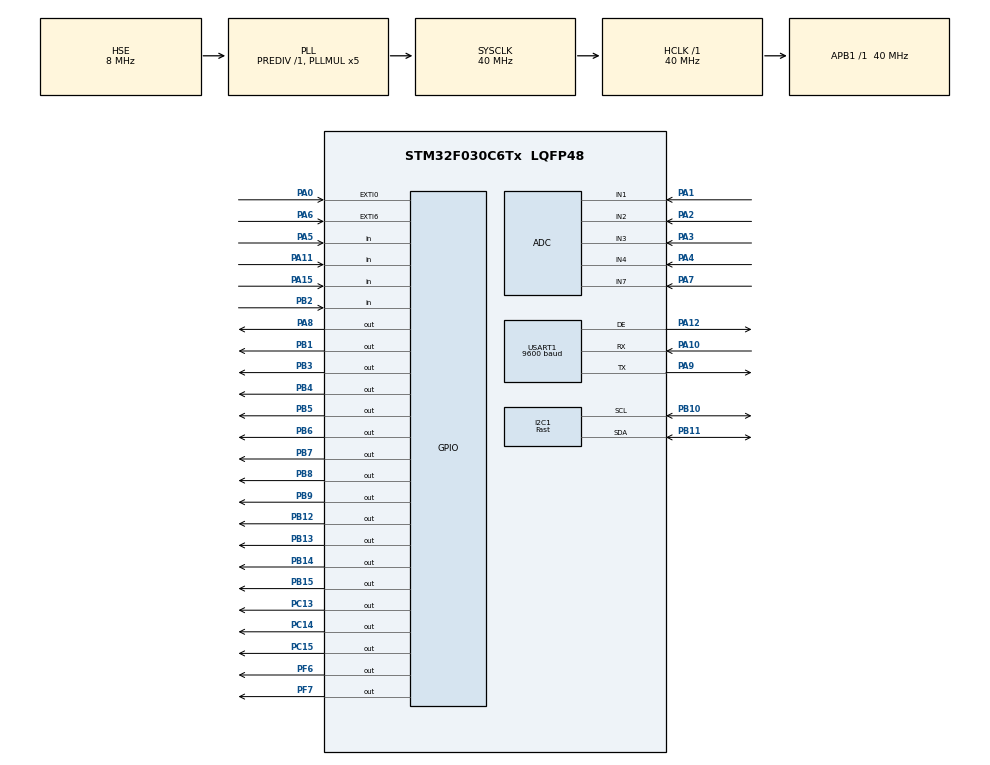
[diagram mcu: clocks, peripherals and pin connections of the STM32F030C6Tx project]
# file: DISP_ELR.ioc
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ADC.ClockPrescaler=ADC_CLOCK_SYNC_PCLK_DIV4
ADC.DMAContinuousRequests=ENABLE
ADC.EOCSelection=ADC_EOC_SEQ_CONV
ADC.ExternalTrigConv=ADC_EXTERNALTRIGCONV_T1_TRGO
ADC.SamplingTime=ADC_SAMPLETIME_13CYCLES_5
Dma.ADC.0.Direction=DMA_PERIPH_TO_MEMORY
Dma.ADC.0.Instance=DMA1_Channel1
Dma.ADC.0.MemDataAlignment=DMA_MDATAALIGN_WORD
Dma.ADC.0.MemInc=DMA_MINC_ENABLE
Dma.ADC.0.Mode=DMA_CIRCULAR
Dma.ADC.0.PeriphDataAlignment=DMA_PDATAALIGN_WORD
Dma.ADC.0.PeriphInc=DMA_PINC_DISABLE
Dma.ADC.0.Priority=DMA_PRIORITY_HIGH
Dma.I2C1_RX.1.Direction=DMA_PERIPH_TO_MEMORY
Dma.I2C1_RX.1.Instance=DMA1_Channel3
Dma.I2C1_RX.1.MemDataAlignment=DMA_MDATAALIGN_BYTE
Dma.I2C1_RX.1.MemInc=DMA_MINC_ENABLE
Dma.I2C1_RX.1.Mode=DMA_NORMAL
Dma.I2C1_RX.1.PeriphDataAlignment=DMA_PDATAALIGN_BYTE
Dma.I2C1_RX.1.PeriphInc=DMA_PINC_DISABLE
Dma.I2C1_RX.1.Priority=DMA_PRIORITY_LOW
Dma.Request0=ADC
Dma.Request1=I2C1_RX
Dma.Request2=USART1_RX
Dma.USART1_RX.2.Direction=DMA_PERIPH_TO_MEMORY
Dma.USART1_RX.2.Instance=DMA1_Channel5
Dma.USART1_RX.2.MemDataAlignment=DMA_MDATAALIGN_BYTE
Dma.USART1_RX.2.MemInc=DMA_MINC_ENABLE
Dma.USART1_RX.2.Mode=DMA_NORMAL
Dma.USART1_RX.2.PeriphDataAlignment=DMA_PDATAALIGN_BYTE
Dma.USART1_RX.2.PeriphInc=DMA_PINC_DISABLE
Dma.USART1_RX.2.Priority=DMA_PRIORITY_LOW
I2C1.I2C_Speed_Mode=I2C_Fast
I2C1.Timing=0x0000020B
IWDG.Prescaler=IWDG_PRESCALER_32
Mcu.Family=STM32F0
Mcu.Name=STM32F030C6Tx
Mcu.Package=LQFP48
NVIC.ADC1_IRQn=true\:0\:0\:false\:false\:true\:true\:true
NVIC.DMA1_Channel1_IRQn=true\:0\:0\:false\:false\:true\:false\:true
NVIC.DMA1_Channel2_3_IRQn=true\:0\:0\:false\:false\:true\:false\:true
NVIC.DMA1_Channel4_5_IRQn=true\:0\:0\:false\:false\:true\:false\:true
NVIC.EXTI0_1_IRQn=true\:0\:0\:false\:false\:true\:true\:true
NVIC.EXTI4_15_IRQn=true\:0\:0\:false\:false\:true\:true\:true
NVIC.I2C1_IRQn=true\:0\:0\:false\:false\:true\:true\:true
NVIC.TIM1_BRK_UP_TRG_COM_IRQn=true\:0\:0\:false\:false\:true\:true\:true
NVIC.USART1_IRQn=true\:0\:0\:false\:false\:true\:true\:true
PA0.Signal=GPXTI0
PA1.Mode=IN1
PA1.Signal=ADC_IN1
PA10.Mode=Asynchronous
PA10.Signal=USART1_RX
PA11.GPIO_PuPd=GPIO_PULLUP
PA11.Signal=GPIO_Input
PA12.Mode=Hardware Flow Control (RS485)
PA12.Signal=USART1_DE
PA13.Mode=Serial_Wire
PA13.Signal=SYS_SWDIO
PA14.Mode=Serial_Wire
PA14.Signal=SYS_SWCLK
PA15.GPIO_PuPd=GPIO_PULLUP
PA15.Signal=GPIO_Input
PA2.Mode=IN2
PA2.Signal=ADC_IN2
PA3.Mode=IN3
PA3.Signal=ADC_IN3
PA4.Mode=IN4
PA4.Signal=ADC_IN4
PA5.GPIO_PuPd=GPIO_PULLUP
PA5.Signal=GPIO_Input
PA6.GPIO_ModeDefaultEXTI=GPIO_MODE_IT_FALLING
PA6.Signal=GPXTI6
PA7.Mode=IN7
PA7.Signal=ADC_IN7
PA8.Signal=GPIO_Output
PA9.Mode=Asynchronous
PA9.Signal=USART1_TX
PB1.Signal=GPIO_Output
PB10.Mode=I2C
PB10.Signal=I2C1_SCL
PB11.Mode=I2C
PB11.Signal=I2C1_SDA
PB12.Signal=GPIO_Output
PB13.Signal=GPIO_Output
PB14.Signal=GPIO_Output
PB15.Signal=GPIO_Output
PB2.GPIO_PuPd=GPIO_PULLUP
PB2.Signal=GPIO_Input
PB3.Signal=GPIO_Output
PB4.Signal=GPIO_Output
PB5.Signal=GPIO_Output
PB6.Signal=GPIO_Output
PB7.Signal=GPIO_Output
PB8.Signal=GPIO_Output
PB9.Signal=GPIO_Output
PC13.Signal=GPIO_Output
PC14-OSC32_IN.Signal=GPIO_Output
PC15-OSC32_OUT.Signal=GPIO_Output
PF0-OSC_IN.Mode=HSE-External-Oscillator
PF0-OSC_IN.Signal=RCC_OSC_IN
PF1-OSC_OUT.Mode=HSE-External-Oscillator
PF1-OSC_OUT.Signal=RCC_OSC_OUT
PF6.Signal=GPIO_Output
PF7.Signal=GPIO_Output
ProjectManager.HeapSize=0x200
ProjectManager.StackSize=0x400
ProjectManager.TargetToolchain=MDK-ARM V5
RCC.AHBFreq_Value=40000000
RCC.APB1Freq_Value=40000000
RCC.APB1TimFreq_Value=40000000
RCC.HCLKFreq_Value=40000000
RCC.PLLMUL=RCC_PLL_MUL5
RCC.PLLSourceVirtual=RCC_PLLSOURCE_HSE
RCC.SYSCLKFreq_VALUE=40000000
RCC.SYSCLKSource=RCC_SYSCLKSOURCE_PLLCLK
TIM1.Period=5000-1
TIM1.TIM_MasterOutputTrigger=TIM_TRGO_UPDATE
USART1.BaudRate=9600
USART1.UART_DEAssertionTime=10
USART1.UART_DEDeassertionTime=10
USART1.VirtualMode-Asynchronous=VM_ASYNC
USART1.VirtualMode-Hardware\ Flow\ Control\ (RS485)=VM_ASYNC
VP_IWDG_VS_IWDG.Mode=IWDG_Activate
VP_TIM1_VS_ClockSourceINT.Mode=Internal
board=custom

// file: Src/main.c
/* USER CODE BEGIN Header */
/**
  ******************************************************************************
  * @file           : main.c
  * @brief          : Main program body
  ******************************************************************************
  ** This notice applies to any and all portions of this file
  * that are not between comment pairs USER CODE BEGIN and
  * USER CODE END. Other portions of this file, whether
  * inserted by the user or by software development tools
  * are owned by their respective copyright owners.
  *
  * COPYRIGHT(c) 2019 STMicroelectronics
  *
  * Redistribution and use in source and binary forms, with or without modification,
  * are permitted provided that the following conditions are met:
  *   1. Redistributions of source code must retain the above copyright notice,
  *      this list of conditions and the following disclaimer.
  *   2. Redistributions in binary form must reproduce the above copyright notice,
  *      this list of conditions and the following disclaimer in the documentation
  *      and/or other materials provided with the distribution.
  *   3. Neither the name of STMicroelectronics nor the names of its contributors
  *      may be used to endorse or promote products derived from this software
  *      without specific prior written permission.
  *
  * THIS SOFTWARE IS PROVIDED BY THE COPYRIGHT HOLDERS AND CONTRIBUTORS "AS IS"
  * AND ANY EXPRESS OR IMPLIED WARRANTIES, INCLUDING, BUT NOT LIMITED TO, THE
  * IMPLIED WARRANTIES OF MERCHANTABILITY AND FITNESS FOR A PARTICULAR PURPOSE ARE
  * DISCLAIMED. IN NO EVENT SHALL THE COPYRIGHT HOLDER OR CONTRIBUTORS BE LIABLE
  * FOR ANY DIRECT, INDIRECT, INCIDENTAL, SPECIAL, EXEMPLARY, OR CONSEQUENTIAL
  * DAMAGES (INCLUDING, BUT NOT LIMITED TO, PROCUREMENT OF SUBSTITUTE GOODS OR
  * SERVICES; LOSS OF USE, DATA, OR PROFITS; OR BUSINESS INTERRUPTION) HOWEVER
  * CAUSED AND ON ANY THEORY OF LIABILITY, WHETHER IN CONTRACT, STRICT LIABILITY,
  * OR TORT (INCLUDING NEGLIGENCE OR OTHERWISE) ARISING IN ANY WAY OUT OF THE USE
  * OF THIS SOFTWARE, EVEN IF ADVISED OF THE POSSIBILITY OF SUCH DAMAGE.
  *
  ******************************************************************************
  */
/* USER CODE END Header */

#include "main.h"

/* USER CODE BEGIN Includes */

/*******************************************************************************/

#include "Rms.h"
#include "stdbool.h"
#include "ui.h"
#include "setup.h"
#include "display.h"
#include "button.h"
#include "string.h"
#include "pt24xx.h"
#include "rtc.h"
#include "serialcomm.h"
#include "modbus.h"
#include "button_new.h"

/*******************************************************************************/

/* USER CODE END Includes */
#define S1_Is_Not_Pressed (GPIOB->IDR & GPIO_PIN_2)
/* USER CODE BEGIN PTD */

/*******************************************************************************/
uint16_t Adc_Timmer_Counter=0;
bool Adc_Flag=false,disp_flag=false,back_flag = false,button_flag = false;
static uint32_t I_Sample[TOTAL_ADC_CHANNEL];
bool Trip_Value_Status=false,toggle = false;
uint32_t Start_Timmer=0;
bool callibartion_flag=true;
bool start_calibartions_flag=false;
bool Write_history_trip=false;
uint16_t testing_blur = 0;
bool testing_flag = false;
bool falt_disp=false;
bool setup_digit = false;
extern uint8_t Relay_Voltage_Detection;
 // Adc  Adc_Rms;
  // Common_Var  Common;
  // Store_Data  Stored;
const uint32_t parity_bit[3]	= 		{UART_PARITY_NONE,UART_PARITY_EVEN,UART_PARITY_ODD};
const uint32_t word_length[3]	= {UART_WORDLENGTH_8B,UART_WORDLENGTH_9B,UART_WORDLENGTH_9B};

/*******************************************************************************/
/* USER CODE END PTD */

/* USER CODE BEGIN PD */

/*******************************************************************************/

#define  EEPROM_DEVICE_ADDRESS   (0xAE) /* EEPROM Device Address */
#define  RTC_DEVICE_ADDRESS      (0xA3)   /* RTC Device Address */
//#define SETTING   (GPIOA->IDR & GPIO_PIN_0)

/*******************************************************************************/
/* USER CODE END PD */

ADC_HandleTypeDef hadc;
DMA_HandleTypeDef hdma_adc;

I2C_HandleTypeDef hi2c1;
DMA_HandleTypeDef hdma_i2c1_rx;

IWDG_HandleTypeDef hiwdg;

TIM_HandleTypeDef htim1;

UART_HandleTypeDef huart1;
DMA_HandleTypeDef hdma_usart1_rx;

void SystemClock_Config(void);
static void MX_GPIO_Init(void);
static void MX_DMA_Init(void);
static void MX_ADC_Init(void);
static void MX_I2C1_Init(void);
static void MX_USART1_UART_Init(void);
static void MX_TIM1_Init(void);
static void MX_IWDG_Init(void);
/* USER CODE BEGIN PFP */
void Hardware_Init(void);

/* USER CODE END PFP */

/* USER CODE BEGIN 0 */
/*******************************************************************************/
uint8_t Slot=0;
uint8_t __temp_timmer;

uint16_t __temp_disp;

bool ui_periodic_flag=false,three_sec_flag = false;

uint8_t three_sec_counter = 0,half_sec_couter = 0,setup_digit_del=0;
/* Adc Call Back Function Call Every 125 us */
uint16_t __temp548=0;

void HAL_ADC_ConvCpltCallback(ADC_HandleTypeDef* hadc1)
{

  /* if Setting Current rms value  is greater than trip_set value  Starting the timmer*/
	if(Trip_Value_Status==true)
	{
		__temp_timmer++; /* __temp_timmer increease 125 us */

		if(__temp_timmer==8)
		  {
			__temp_timmer=0;
		    Start_Timmer++;  /* It increase Every 1 ms */

    	}
	}
	else
	{
		Pk_Display_Flag=false;
		Start_Timmer=0;

	}

	if(hadc1==&hadc)
		{
			Adc_Sample_Calculations(I_Sample,Slot);
			Adc_Timmer_Counter++;

		if(Adc_Timmer_Counter==TOTAL_NO_SAMPLE)
	  	{
			/* every 1 sec enter into this*/
			Slot=0;
			Adc_Timmer_Counter=0;
			Adc_Flag=true;
			Store_Adc_Data();
			disp_flag = true;

	  	}

				if(Adc_Timmer_Counter>=HALF_NO_OF_SAMPLE)
				{
					Slot=1;
				}
				else
				{
					Slot=0;
				}
	}
		/* Update digit in every 0.5 ms */
	  ui_periodicProcess();

		button_flag = true;

}

/*******************************************************************************/

/************************Adc Hardware init call once**********************************************/
void Hardware_Init()
{
		/* Initiate ADC conversion using periodic timer trigger and
			transfer of converted data to RAM using DMA.
			DMA interrupt generation at the end of transfer complete
	*/
	// Disable half transfer complete interrupt
	__HAL_DMA_DISABLE_IT(&hdma_adc, DMA_IT_HT);
	// Start periodic timer for sampling VA inputs
	  HAL_TIM_Base_Start(&htim1);
		HAL_ADCEx_Calibration_Start(&hadc);
	// Start DMA which will collect data from ADC and put data in given location
				HAL_ADC_Start_DMA(&hadc, (uint32_t *)I_Sample, TOTAL_ADC_CHANNEL);
				Adc_Flag = false;
}

/*******************************************************************************/

/*******************************************************************************/
bool comp_mem = false;
/*****************Intialized All harware Init and Calibaration as well calling only onces *********/
uint8_t __temp_scal;
uint8_t No_Of_cal=0;
void Hard_Init(void)
{
	/* EEPROM Device address Initilizations */
	PT24xx_init(&hi2c1, EEPROM_DEVICE_ADDRESS );

	/* RTC Device Address initilizations */
   rtc_init (&hi2c1,RTC_DEVICE_ADDRESS );

		/*Wait for succesfully complete  adc sample */

  /* uses for waiste cycle to settel down adc harware */
	while(Adc_Flag!=true);
	Adc_Flag=false;
	 Read_Eeprom_Data();
	  Rms_Calculations();

	/* Dont miss any adc sample wait */
	while(Adc_Flag!=true) ;
	Adc_Flag=false;
	Read_Eeprom_Data();

	while(Adc_Flag!=true) ;
	Adc_Flag=false;
	Read_Eeprom_Data();

		while(Adc_Flag!=true) ;
	Adc_Flag=false;
	Read_Eeprom_Data();
	  Rms_Calculations();

#if CALIBARTION_EIN_DIS

	/* calibaration process
	set calibaration point (current) press button
	set next calibaration oint */

	while(No_Of_cal<No_OF_TIME_CALL)
	{
		while(S1_Is_Not_Pressed){}
   for(__temp_scal=0;__temp_scal<10;__temp_scal++)
	       {

		   while(Adc_Flag!=true);
	    Adc_Flag=false;
			 Twice_calibartion();

				 }
				 Calibaration();
				 No_Of_cal++;
	 }

	 Read_Eeprom_Data();
	#endif

}

/*******************************************************************************/

/* USER CODE END 0 */

int main(void)
{

  /* MCU Configuration--------------------------------------------------------*/

  /* Reset of all peripherals, Initializes the Flash interface and the Systick. */
  HAL_Init();

  /* Configure the system clock */
  SystemClock_Config();

  /* Initialize all configured peripherals */
  MX_GPIO_Init();
  MX_DMA_Init();
  MX_ADC_Init();
  MX_I2C1_Init();
  MX_USART1_UART_Init();
  MX_TIM1_Init();
  MX_IWDG_Init();
  /* USER CODE BEGIN 2 */
	memset(&Adc_Rms,0,sizeof(Adc_Rms)); /* Set structure variable bydefault to zero */
	memset(&Common,0,sizeof(Common));   /* Set structure variable bydefault to zero */
	memset(&Stored,0,sizeof(Stored));  /* Set structure variable bydefault to zero */
	/*Adc Hardware init*/

	Hardware_Init();
	/*Intialized All harware Init and Calibaration */
	Hard_Init();
	ui_init();
	setup_init();
	mv_sv_read ();
  MX_IWDG_Init();

  /* USER CODE END 2 */

  /* Infinite loop */
  /* USER CODE BEGIN WHILE */
  while (1)
		{
		//HAL_IWDG_Refresh(&hiwdg);

				/*wait for complete total no of adc sample scan */
					{
						if(Adc_Flag==true)
							{
								Rms_Calculations();
								Adc_Flag=false;
								/* check Trip_Status conditions ct detections*/
								Trip_Status_Check();
								/* check open ct detections*/
								setup_digit_del++;
								three_sec_counter++;
								half_sec_couter++;
								/* every 0.5 second flag is high */
								if(half_sec_couter >= 5)
									{
										ui_pageManager();
										half_sec_couter = 0;
									}
									if(setup_digit_del >= 10)
										{
											segment_on();
											setup_digit_del = 0;
										}
		 								if(three_sec_counter >= 29)
											{
												interupt_state();
												three_sec_counter = 0;
											}
							}
							/* Check Alarm_Set_ if true trip the relay 2 Flag */
							if(Alarm_Set_Flag==true)  /* when cuurent leakage current elapsed the Alarm set limit */
								{
									/* if alarm set conditions  true Relay 2 trip */
									//Relay_Set_Reset(Relay_select_2,HIGH);
								}
								if(Trip_Relay_1==true)  /* when delay time is elapsed */
									{
										if(Trip_Value_Status==true)  /* when cuurent leakage current elapsed  Trip limit  set */
											{
												/* if trip set conditions  true Relay 1 trip */
											//	Relay_Set_Reset(Relay_select_1,HIGH);
												falt_disp=true;
												if(cfg.set_alarm == 2)
													{
														relay_trip_status_2=true;
														//GPIOF->ODR |=GPIO_PIN_7;  /* trip relay 2 when alarm is off */
													}
											}
									}
									/* manulally Trip and Reset */
									//Test_Conditions();

					}
    /* USER CODE END WHILE */

    /* USER CODE BEGIN 3 */
					if(button_flag)
						{
							button_scanEvent();
							button_flag = false;
						}
		}
  /* USER CODE END 3 */
}

void SystemClock_Config(void)
{
  RCC_OscInitTypeDef RCC_OscInitStruct = {0};
  RCC_ClkInitTypeDef RCC_ClkInitStruct = {0};
  RCC_PeriphCLKInitTypeDef PeriphClkInit = {0};

  /** Initializes the CPU, AHB and APB busses clocks
  */
  RCC_OscInitStruct.OscillatorType = RCC_OSCILLATORTYPE_HSI|RCC_OSCILLATORTYPE_LSI
                              |RCC_OSCILLATORTYPE_HSE;
  RCC_OscInitStruct.HSEState = RCC_HSE_ON;
  RCC_OscInitStruct.HSIState = RCC_HSI_ON;
  RCC_OscInitStruct.HSICalibrationValue = RCC_HSICALIBRATION_DEFAULT;
  RCC_OscInitStruct.LSIState = RCC_LSI_ON;
  RCC_OscInitStruct.PLL.PLLState = RCC_PLL_ON;
  RCC_OscInitStruct.PLL.PLLSource = RCC_PLLSOURCE_HSE;
  RCC_OscInitStruct.PLL.PLLMUL = RCC_PLL_MUL5;
  RCC_OscInitStruct.PLL.PREDIV = RCC_PREDIV_DIV1;
  if (HAL_RCC_OscConfig(&RCC_OscInitStruct) != HAL_OK)
  {
    Error_Handler();
  }
  /** Initializes the CPU, AHB and APB busses clocks
  */
  RCC_ClkInitStruct.ClockType = RCC_CLOCKTYPE_HCLK|RCC_CLOCKTYPE_SYSCLK
                              |RCC_CLOCKTYPE_PCLK1;
  RCC_ClkInitStruct.SYSCLKSource = RCC_SYSCLKSOURCE_PLLCLK;
  RCC_ClkInitStruct.AHBCLKDivider = RCC_SYSCLK_DIV1;
  RCC_ClkInitStruct.APB1CLKDivider = RCC_HCLK_DIV1;

  if (HAL_RCC_ClockConfig(&RCC_ClkInitStruct, FLASH_LATENCY_1) != HAL_OK)
  {
    Error_Handler();
  }
  PeriphClkInit.PeriphClockSelection = RCC_PERIPHCLK_USART1|RCC_PERIPHCLK_I2C1;
  PeriphClkInit.Usart1ClockSelection = RCC_USART1CLKSOURCE_PCLK1;
  PeriphClkInit.I2c1ClockSelection = RCC_I2C1CLKSOURCE_HSI;
  if (HAL_RCCEx_PeriphCLKConfig(&PeriphClkInit) != HAL_OK)
  {
    Error_Handler();
  }
}

static void MX_ADC_Init(void)
{

  ADC_ChannelConfTypeDef sConfig = {0};

  /** Configure the global features of the ADC (Clock, Resolution, Data Alignment and number of conversion)
  */
  hadc.Instance = ADC1;
  hadc.Init.ClockPrescaler = ADC_CLOCK_SYNC_PCLK_DIV4;
  hadc.Init.Resolution = ADC_RESOLUTION_12B;
  hadc.Init.DataAlign = ADC_DATAALIGN_RIGHT;
  hadc.Init.ScanConvMode = ADC_SCAN_DIRECTION_FORWARD;
  hadc.Init.EOCSelection = ADC_EOC_SEQ_CONV;
  hadc.Init.LowPowerAutoWait = DISABLE;
  hadc.Init.LowPowerAutoPowerOff = DISABLE;
  hadc.Init.ContinuousConvMode = DISABLE;
  hadc.Init.DiscontinuousConvMode = DISABLE;
  hadc.Init.ExternalTrigConv = ADC_EXTERNALTRIGCONV_T1_TRGO;
  hadc.Init.ExternalTrigConvEdge = ADC_EXTERNALTRIGCONVEDGE_RISING;
  hadc.Init.DMAContinuousRequests = ENABLE;
  hadc.Init.Overrun = ADC_OVR_DATA_PRESERVED;
  if (HAL_ADC_Init(&hadc) != HAL_OK)
  {
    Error_Handler();
  }
  /** Configure for the selected ADC regular channel to be converted.
  */
  sConfig.Channel = ADC_CHANNEL_1;
  sConfig.Rank = ADC_RANK_CHANNEL_NUMBER;
  sConfig.SamplingTime = ADC_SAMPLETIME_13CYCLES_5;

  /** Configure for the selected ADC regular channel to be converted.
  */
  sConfig.Channel = ADC_CHANNEL_4;
  if (HAL_ADC_ConfigChannel(&hadc, &sConfig) != HAL_OK)
  {
    Error_Handler();
  }
  /** Configure for the selected ADC regular channel to be converted.
  */
  sConfig.Channel = ADC_CHANNEL_5;
  if (HAL_ADC_ConfigChannel(&hadc, &sConfig) != HAL_OK)
  {
    Error_Handler();
  }

}

static void MX_I2C1_Init(void)
{

  hi2c1.Instance = I2C1;
  hi2c1.Init.Timing = 0x0000020B;
  hi2c1.Init.OwnAddress1 = 0;
  hi2c1.Init.AddressingMode = I2C_ADDRESSINGMODE_7BIT;
  hi2c1.Init.DualAddressMode = I2C_DUALADDRESS_DISABLE;
  hi2c1.Init.OwnAddress2 = 0;
  hi2c1.Init.OwnAddress2Masks = I2C_OA2_NOMASK;
  hi2c1.Init.GeneralCallMode = I2C_GENERALCALL_DISABLE;
  hi2c1.Init.NoStretchMode = I2C_NOSTRETCH_DISABLE;
  if (HAL_I2C_Init(&hi2c1) != HAL_OK)
  {
    Error_Handler();
  }
  /** Configure Analogue filter
  */
  if (HAL_I2CEx_ConfigAnalogFilter(&hi2c1, I2C_ANALOGFILTER_ENABLE) != HAL_OK)
  {
    Error_Handler();
  }
  /** Configure Digital filter
  */
  if (HAL_I2CEx_ConfigDigitalFilter(&hi2c1, 0) != HAL_OK)
  {
    Error_Handler();
  }

}

static void MX_IWDG_Init(void)
{

  hiwdg.Instance = IWDG;
  hiwdg.Init.Prescaler = IWDG_PRESCALER_256;
  hiwdg.Init.Window = 4095;
  hiwdg.Init.Reload = 2000;
  if (HAL_IWDG_Init(&hiwdg) != HAL_OK)
  {
    Error_Handler();
  }

}

static void MX_TIM1_Init(void)
{

  TIM_ClockConfigTypeDef sClockSourceConfig = {0};
  TIM_MasterConfigTypeDef sMasterConfig = {0};

  htim1.Instance = TIM1;
  htim1.Init.Prescaler = 0;
  htim1.Init.CounterMode = TIM_COUNTERMODE_UP;
  htim1.Init.Period = 5000-1;
  htim1.Init.ClockDivision = TIM_CLOCKDIVISION_DIV1;
  htim1.Init.RepetitionCounter = 0;
  htim1.Init.AutoReloadPreload = TIM_AUTORELOAD_PRELOAD_DISABLE;
  if (HAL_TIM_Base_Init(&htim1) != HAL_OK)
  {
    Error_Handler();
  }
  sClockSourceConfig.ClockSource = TIM_CLOCKSOURCE_INTERNAL;
  if (HAL_TIM_ConfigClockSource(&htim1, &sClockSourceConfig) != HAL_OK)
  {
    Error_Handler();
  }
  sMasterConfig.MasterOutputTrigger = TIM_TRGO_UPDATE;
  sMasterConfig.MasterSlaveMode = TIM_MASTERSLAVEMODE_DISABLE;
  if (HAL_TIMEx_MasterConfigSynchronization(&htim1, &sMasterConfig) != HAL_OK)
  {
    Error_Handler();
  }

}

static void MX_USART1_UART_Init(void)
{

  huart1.Instance = USART1;
  huart1.Init.BaudRate = cfg.buad_rate;
  huart1.Init.WordLength = word_length[cfg.parity];
  huart1.Init.StopBits = UART_STOPBITS_1;
  huart1.Init.Parity = parity_bit[cfg.parity];
  huart1.Init.Mode = UART_MODE_TX_RX;
  huart1.Init.HwFlowCtl = UART_HWCONTROL_NONE;
  huart1.Init.OverSampling = UART_OVERSAMPLING_16;
  huart1.Init.OneBitSampling = UART_ONE_BIT_SAMPLE_DISABLE;
  huart1.AdvancedInit.AdvFeatureInit = UART_ADVFEATURE_NO_INIT;
  if (HAL_RS485Ex_Init(&huart1, UART_DE_POLARITY_HIGH, 10, 10) != HAL_OK)
  {
    Error_Handler();
  }

}

static void MX_DMA_Init(void)
{
  /* DMA controller clock enable */
  __HAL_RCC_DMA1_CLK_ENABLE();

  /* DMA interrupt init */
  /* DMA1_Channel1_IRQn interrupt configuration */
  HAL_NVIC_SetPriority(DMA1_Channel1_IRQn, 0, 0);
  HAL_NVIC_EnableIRQ(DMA1_Channel1_IRQn);
  /* DMA1_Channel2_3_IRQn interrupt configuration */
  HAL_NVIC_SetPriority(DMA1_Channel2_3_IRQn, 0, 0);
  HAL_NVIC_EnableIRQ(DMA1_Channel2_3_IRQn);
  /* DMA1_Channel4_5_IRQn interrupt configuration */
  HAL_NVIC_SetPriority(DMA1_Channel4_5_IRQn, 0, 0);
  HAL_NVIC_EnableIRQ(DMA1_Channel4_5_IRQn);

}

static void MX_GPIO_Init(void)
{
  GPIO_InitTypeDef GPIO_InitStruct = {0};

  /* GPIO Ports Clock Enable */
  __HAL_RCC_GPIOC_CLK_ENABLE();
  __HAL_RCC_GPIOF_CLK_ENABLE();
  __HAL_RCC_GPIOA_CLK_ENABLE();
  __HAL_RCC_GPIOB_CLK_ENABLE();

  /*Configure GPIO pin Output Level */
  HAL_GPIO_WritePin(GPIOC, GPIO_PIN_13|GPIO_PIN_14|GPIO_PIN_15, GPIO_PIN_RESET);

  /*Configure GPIO pin Output Level */
  HAL_GPIO_WritePin(GPIOB, GPIO_PIN_1|GPIO_PIN_12|GPIO_PIN_13|GPIO_PIN_14
                          |GPIO_PIN_15|GPIO_PIN_3|GPIO_PIN_4|GPIO_PIN_5
                          |GPIO_PIN_6|GPIO_PIN_7|GPIO_PIN_8|GPIO_PIN_9, GPIO_PIN_RESET);

  /*Configure GPIO pin Output Level */
  HAL_GPIO_WritePin(GPIOA, GPIO_PIN_8, GPIO_PIN_RESET);

  /*Configure GPIO pin Output Level */
  HAL_GPIO_WritePin(GPIOF, GPIO_PIN_6|GPIO_PIN_7, GPIO_PIN_RESET);

  /*Configure GPIO pins : PC13 PC14 PC15 */
  GPIO_InitStruct.Pin = GPIO_PIN_13|GPIO_PIN_14|GPIO_PIN_15;
  GPIO_InitStruct.Mode = GPIO_MODE_OUTPUT_PP;
  GPIO_InitStruct.Pull = GPIO_NOPULL;
  GPIO_InitStruct.Speed = GPIO_SPEED_FREQ_LOW;
  HAL_GPIO_Init(GPIOC, &GPIO_InitStruct);

  /*Configure GPIO pin : PA0 */
  GPIO_InitStruct.Pin = GPIO_PIN_0;
  GPIO_InitStruct.Mode = GPIO_MODE_IT_RISING;
  GPIO_InitStruct.Pull = GPIO_NOPULL;
  HAL_GPIO_Init(GPIOA, &GPIO_InitStruct);

  /*Configure GPIO pins : PA5 PA11 PA15 */
  GPIO_InitStruct.Pin = GPIO_PIN_5|GPIO_PIN_11|GPIO_PIN_15;
  GPIO_InitStruct.Mode = GPIO_MODE_INPUT;
  GPIO_InitStruct.Pull = GPIO_PULLUP;
  HAL_GPIO_Init(GPIOA, &GPIO_InitStruct);

  /*Configure GPIO pin : PA6 */
  GPIO_InitStruct.Pin = GPIO_PIN_6;
  GPIO_InitStruct.Mode = GPIO_MODE_IT_FALLING;
  GPIO_InitStruct.Pull = GPIO_NOPULL;
  HAL_GPIO_Init(GPIOA, &GPIO_InitStruct);

  /*Configure GPIO pins : PB1 PB12 PB13 PB14
                           PB15 PB3 PB4 PB5
                           PB6 PB7 PB8 PB9 */
  GPIO_InitStruct.Pin = GPIO_PIN_1|GPIO_PIN_12|GPIO_PIN_13|GPIO_PIN_14
                          |GPIO_PIN_15|GPIO_PIN_3|GPIO_PIN_4|GPIO_PIN_5
                          |GPIO_PIN_6|GPIO_PIN_7|GPIO_PIN_8|GPIO_PIN_9;
  GPIO_InitStruct.Mode = GPIO_MODE_OUTPUT_PP;
  GPIO_InitStruct.Pull = GPIO_NOPULL;
  GPIO_InitStruct.Speed = GPIO_SPEED_FREQ_LOW;
  HAL_GPIO_Init(GPIOB, &GPIO_InitStruct);

  /*Configure GPIO pin : PB2 */
  GPIO_InitStruct.Pin = GPIO_PIN_2;
  GPIO_InitStruct.Mode = GPIO_MODE_INPUT;
  GPIO_InitStruct.Pull = GPIO_PULLUP;
  HAL_GPIO_Init(GPIOB, &GPIO_InitStruct);

  /*Configure GPIO pin : PA8 */
  GPIO_InitStruct.Pin = GPIO_PIN_8;
  GPIO_InitStruct.Mode = GPIO_MODE_OUTPUT_PP;
  GPIO_InitStruct.Pull = GPIO_NOPULL;
  GPIO_InitStruct.Speed = GPIO_SPEED_FREQ_LOW;
  HAL_GPIO_Init(GPIOA, &GPIO_InitStruct);

  /*Configure GPIO pins : PF6 PF7 */
  GPIO_InitStruct.Pin = GPIO_PIN_6|GPIO_PIN_7;
  GPIO_InitStruct.Mode = GPIO_MODE_OUTPUT_PP;
  GPIO_InitStruct.Pull = GPIO_NOPULL;
  GPIO_InitStruct.Speed = GPIO_SPEED_FREQ_LOW;
  HAL_GPIO_Init(GPIOF, &GPIO_InitStruct);

  /* EXTI interrupt init*/
  HAL_NVIC_SetPriority(EXTI0_1_IRQn, 0, 0);
  HAL_NVIC_EnableIRQ(EXTI0_1_IRQn);

  HAL_NVIC_SetPriority(EXTI4_15_IRQn, 0, 0);
  HAL_NVIC_EnableIRQ(EXTI4_15_IRQn);

}

void Error_Handler(void)
{
}

/************************ (C) COPYRIGHT STMicroelectronics *****END OF FILE****/
